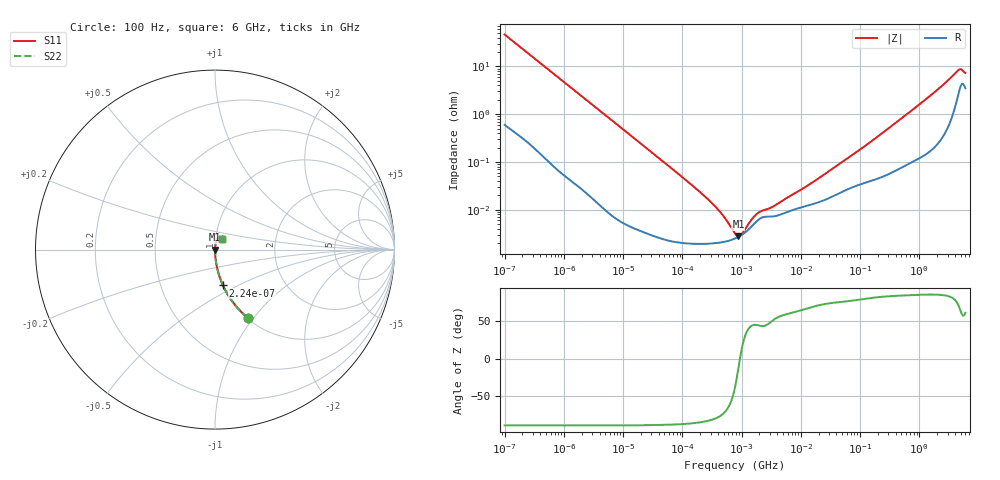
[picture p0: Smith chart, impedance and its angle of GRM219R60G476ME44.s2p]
!Murata Part Number: GRM219R60G476ME44
!These Parameters are Measured in Series Mode Connection
!Data Generated on Mar 30, 2021
!  o--ll--o
!Port1  Port2
!  o------o
!Operation Temp=25[degC], DC Bias Voltage=0[V]
!Freq. Start=100[Hz] Stop=6[GHz] 401[Steps]
# Hz S RI R 50
!Freq.(Hz) S11(Real) S11(Imag) S21(Real) S21(Imag) S12(Real) S12(Imag) S22(Real) S22(Imag)
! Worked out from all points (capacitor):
!   401 points, 100 Hz to 6 GHz, reference 50 ohm
!   read as one part in series: C = 34.1 uF near 109 Hz
!   lowest |Z| = 2.77 mohm at 886 kHz (marker M1)
!   series resonance near 939.7 kHz, so ESL is about 840 pH
!   S11 on the Smith chart (normalised r, x): 100 Hz: 1.01, -0.93; 224 Hz: 1.01, -0.42; 6 GHz: 1.07, +0.13
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100  0.1814 -0.379  0.8186 0.379  0.8186 0.379  0.1814 -0.379
156  0.0849 -0.2722  0.9151 0.2722  0.9151 0.2722  0.0849 -0.2722
224  0.0445 -0.1996  0.9555 0.1996  0.9555 0.1996  0.0445 -0.1996
350  0.0194 -0.1316  0.9806 0.1316  0.9806 0.1316  0.0194 -0.1316
573  0.0077 -0.0818  0.9923 0.0818  0.9923 0.0818  0.0077 -0.0818
2008  0.00083 -0.0237  0.9992 0.0237  0.9992 0.0237  0.00083 -0.0237
40335  2.71e-05 -0.0012  1 0.0012  1 0.0012  2.71e-05 -0.0012
169018  1.94e-05 -0.000278  1 0.000278  1 0.000278  1.94e-05 -0.000278
395726  2.02e-05 -0.000101  1 0.000101  1 0.000101  2.02e-05 -0.000101
452617  2.07e-05 -8.2e-05  1 8.2e-05  1 8.2e-05  2.07e-05 -8.2e-05
774597  2.49e-05 -1.98e-05  1 1.98e-05  1 1.98e-05  2.49e-05 -1.98e-05
885955  2.71e-05 -5.9e-06  1 5.9e-06  1 5.9e-06  2.71e-05 -5.9e-06
2372521  7.06e-05 6.77e-05  0.9999 -6.77e-05  0.9999 -6.77e-05  7.06e-05 6.77e-05
2837864  7.16e-05 7.63e-05  0.9999 -7.63e-05  0.9999 -7.63e-05  7.16e-05 7.63e-05
3549919  7.29e-05 9.57e-05  0.9999 -9.57e-05  0.9999 -9.57e-05  7.29e-05 9.57e-05
1.555665e7  0.00013 0.000346  0.9999 -0.000346  0.9999 -0.000346  0.00013 0.000346
9.753859e7  0.000337 0.00174  0.9997 -0.00174  0.9997 -0.00174  0.000337 0.00174
3.124326e8  0.000591 0.00518  0.9994 -0.00518  0.9994 -0.00518  0.000591 0.00518
1.637704e9  0.00248 0.0259  0.9975 -0.0259  0.9975 -0.0259  0.00248 0.0259
4.385646e9  0.0265 0.0734  0.9735 -0.0734  0.9735 -0.0734  0.0265 0.0734
5.016141e9  0.0431 0.0718  0.9569 -0.0718  0.9569 -0.0718  0.0431 0.0718
6e9  0.0373 0.0597  0.9627 -0.0597  0.9627 -0.0597  0.0373 0.0597
